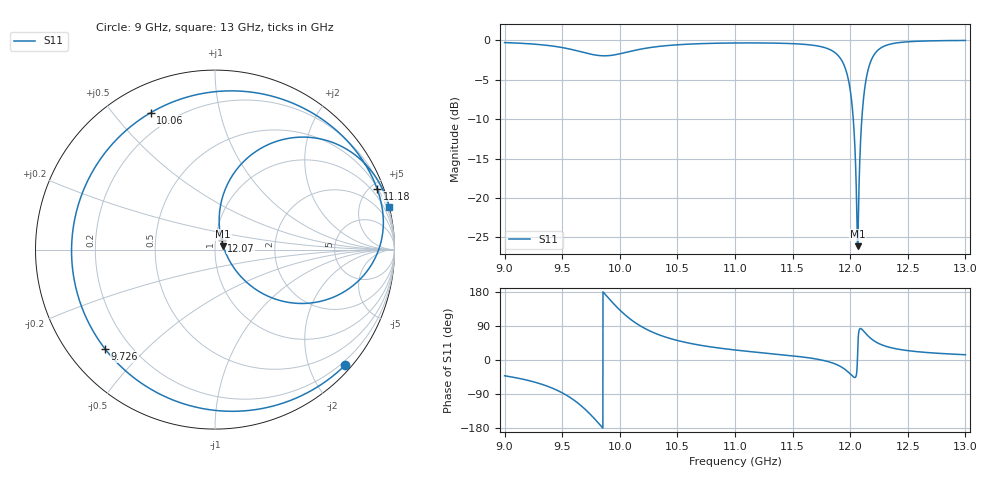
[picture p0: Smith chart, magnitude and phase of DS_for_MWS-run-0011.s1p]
! TOUCHSTONE file generated by CST DESIGN STUDIO
! Date and time: Tue Feb  4 16:26:49 2025
! Project name: C:\Work\MatlabApps\UnitCellOptimizationMatlab\CST\unitcell.cst
! Tree item: Tasks\Sweep1\SPara1\S-Parameters
! Header version: 2024
! Port assignment regex: !\s*Touchstone port\s*([0-9]+)\s*=\s*(CST MWS port|CST DES external port|CST DES block port)\s*(.+)\s* \(\"(.*)\"\)(\s*mode\s*([0-9]+))?.*
! Touchstone port assignment:
! Touchstone port 1 = CST DES external port 1 ("")
# GHz S MA R 50
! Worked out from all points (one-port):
!   4001 points, 9 GHz to 13 GHz, reference 50 ohm
!   lowest |S11| = -26.1 dB at 12.06 GHz (marker M1), VSWR 1.10, Z = 54.8 + j2.02 ohm
!   |S11| at or under -10 dB: 12.03 GHz to 12.1 GHz (73.96 MHz wide, 0.613 % of centre)
!   S11 on the Smith chart (normalised r, x): 9 GHz: 0.12, -2.62; 9.726 GHz: 0.11, -0.38; 10.06 GHz: 0.12, +0.63; 11.18 GHz: 0.55, +5.43; 12.07 GHz: 1.07, +0.11; 13 GHz: -0.00, +8.22
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9  0.9696 -41.6
9.28  0.9448 -60.0
9.5  0.9015 -86.6
9.621  0.8629 -110.1
9.726  0.8254 -137.9
9.797  0.806 -160.6
9.861  0.799 177.5
10  0.8228 131.9
10.061  0.8427 115.2
10.156  0.8734 94.1
10.274  0.9039 74.8
10.5  0.9388 51.5
11  0.9639 26.4
11.181  0.9646 20.7
11.5  0.9546 11.0
11.848  0.8565 -8.0
11.932  0.7346 -20.0
12  0.4854 -36.7
12.025  0.329 -43.9
12.052  0.1214 -41.3
12.065  0.04936 21.9
12.069  0.06275 54.5
12.112  0.4014 77.9
12.169  0.7049 59.6
12.227  0.8476 46.8
12.293  0.9189 37.9
12.5  0.981 24.7
13  1 13.9
